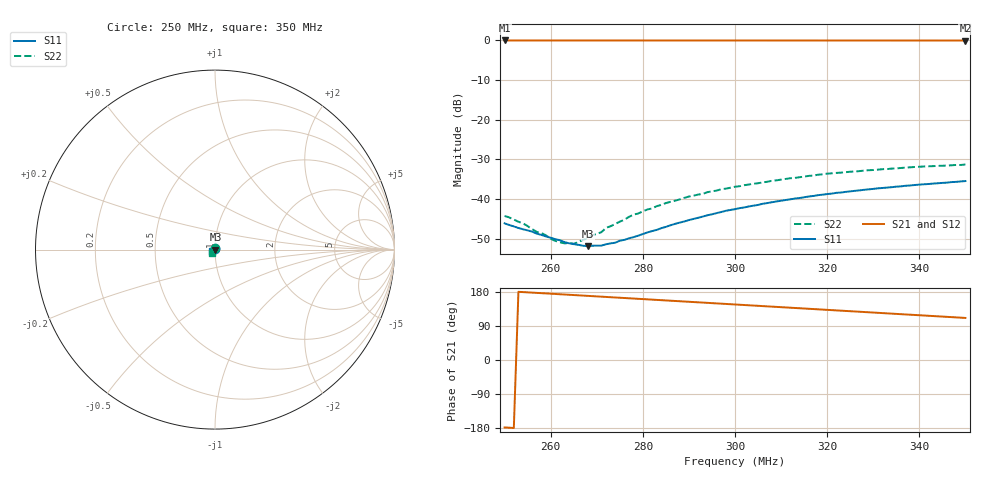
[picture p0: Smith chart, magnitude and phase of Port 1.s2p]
! RsaToolbox (C) 2014 Rohde & Schwarz America
! Number of points: 101
! Number of ports: 2
! Balanced ports?: No
# Hz S RI R 50
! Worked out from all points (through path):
!   101 points, 250 MHz to 350 MHz, reference 50 ohm
!   highest |S21| = -0.10 dB at 250 MHz (marker M1); lowest = -0.1 dB at 350 MHz (marker M2)
!   group delay of S21, straight-line fit = 1.97 ns
!   lowest |S11| = -51.8 dB at 268 MHz (marker M3), VSWR 1.01, Z = 50.3 + j0.00136 ohm
!   |S11| at or under -10 dB: start of sweep to end of sweep
!   |S22| runs from -51.2 to -31.3 dB; largest |S21 - S12| = 0
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2.5e8  0.00175 0.00463  -0.988 -0.0355  -0.988 -0.0355  0.000113 0.00614
2.54e8  0.00206 0.00363  -0.9885 0.0135  -0.9885 0.0135  0.00107 0.00484
2.57e8  0.00233 0.00284  -0.9872 0.0503  -0.9872 0.0503  0.0017 0.00347
2.58e8  0.00241 0.00261  -0.9865 0.0625  -0.9865 0.0625  0.00184 0.00326
2.61e8  0.00254 0.00184  -0.9835 0.0992  -0.9835 0.0992  0.00227 0.00194
2.63e8  0.00256 0.00131  -0.9807 0.1235  -0.9807 0.1235  0.00256 0.00108
2.65e8  0.0026 0.000794  -0.9773 0.1478  -0.9773 0.1478  0.00274 0.000164
2.67e8  0.00258 0.000303  -0.9733 0.1719  -0.9733 0.1719  0.00303 -0.000572
2.68e8  0.00256 1.35e-05  -0.9711 0.184  -0.9711 0.184  0.00304 -0.00097
2.69e8  0.00258 -0.000218  -0.9687 0.196  -0.9687 0.196  0.00319 -0.00148
2.71e8  0.00249 -0.000766  -0.9636 0.22  -0.9636 0.22  0.00315 -0.0022
2.72e8  0.0025 -0.00105  -0.9607 0.2319  -0.9607 0.2319  0.0033 -0.00283
2.74e8  0.00236 -0.00156  -0.9546 0.2557  -0.9546 0.2557  0.00325 -0.00363
2.78e8  0.00206 -0.00262  -0.9408 0.3027  -0.9408 0.3027  0.00317 -0.00555
2.84e8  0.00145 -0.00406  -0.9156 0.3717  -0.9156 0.3717  0.0029 -0.00795
2.9e8  0.000642 -0.00541  -0.8853 0.4387  -0.8853 0.4387  0.00212 -0.0106
3e8  -0.00126 -0.00737  -0.8241 0.5448  -0.8241 0.5448  9.24e-05 -0.0143
3.06e8  -0.00261 -0.00834  -0.7812 0.6045  -0.7812 0.6045  -0.00144 -0.0162
3.17e8  -0.00551 -0.00947  -0.6916 0.705  -0.6916 0.705  -0.00515 -0.0191
3.2e8  -0.00635 -0.00969  -0.6649 0.7301  -0.6649 0.7301  -0.00633 -0.0199
3.34e8  -0.0103 -0.00966  -0.5286 0.8337  -0.5286 0.8337  -0.0117 -0.0212
3.5e8  -0.0148 -0.0081  -0.3538 0.9212  -0.3538 0.9212  -0.0176 -0.0208
